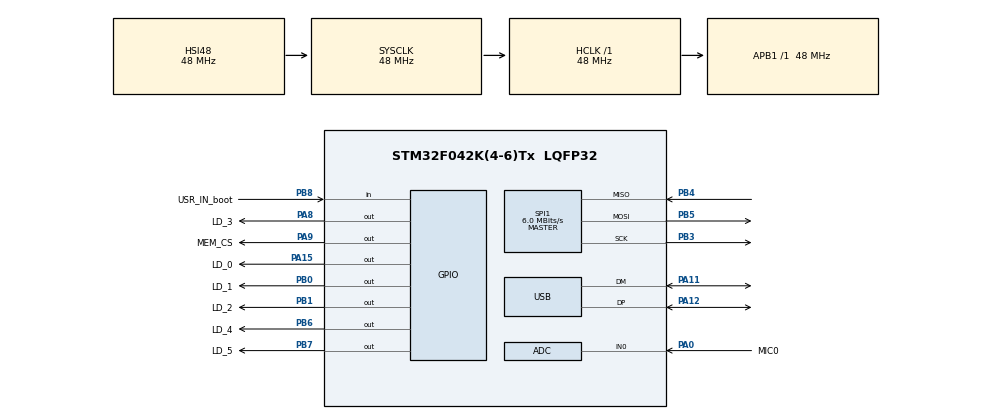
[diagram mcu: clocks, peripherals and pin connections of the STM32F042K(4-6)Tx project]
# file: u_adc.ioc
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ADC.DataAlign=ADC_DATAALIGN_RIGHT
ADC.Resolution=ADC_RESOLUTION_12B
ADC.SamplingTime=ADC_SAMPLETIME_55CYCLES_5
Dma.ADC.0.Direction=DMA_PERIPH_TO_MEMORY
Dma.ADC.0.Instance=DMA1_Channel1
Dma.ADC.0.MemDataAlignment=DMA_MDATAALIGN_HALFWORD
Dma.ADC.0.MemInc=DMA_MINC_ENABLE
Dma.ADC.0.Mode=DMA_NORMAL
Dma.ADC.0.PeriphDataAlignment=DMA_PDATAALIGN_HALFWORD
Dma.ADC.0.PeriphInc=DMA_PINC_DISABLE
Dma.ADC.0.Priority=DMA_PRIORITY_LOW
Dma.Request0=ADC
Mcu.Family=STM32F0
Mcu.Name=STM32F042K(4-6)Tx
Mcu.Package=LQFP32
NVIC.DMA1_Channel1_IRQn=true\:1\:0\:true\:false\:true\:false\:true\:true
NVIC.TIM3_IRQn=true\:1\:0\:true\:false\:true\:true\:true\:true
NVIC.USB_IRQn=true\:0\:0\:false\:false\:true\:false\:true\:true
PA0.GPIO_Label=MIC0
PA0.Mode=IN0
PA0.Signal=ADC_IN0
PA1.GPIO_Label=MIC1
PA1.Signal=ADC_IN1
PA11.Mode=Device
PA11.Signal=USB_DM
PA12.Mode=Device
PA12.Signal=USB_DP
PA13.Mode=Serial_Wire
PA13.Signal=SYS_SWDIO
PA14.Mode=Serial_Wire
PA14.Signal=SYS_SWCLK
PA15.GPIO_Label=LD_0
PA15.GPIO_ModeDefaultOutputPP=GPIO_MODE_OUTPUT_OD
PA15.GPIO_PuPd=GPIO_NOPULL
PA15.GPIO_Speed=GPIO_SPEED_FREQ_HIGH
PA15.PinState=GPIO_PIN_SET
PA15.Signal=GPIO_Output
PA2.GPIO_Label=MIC2
PA2.Signal=ADC_IN2
PA3.GPIO_Label=MIC3
PA3.Signal=ADC_IN3
PA4.GPIO_Label=MIC4
PA4.Signal=ADC_IN4
PA5.GPIO_Label=MIC5
PA5.Signal=ADC_IN5
PA6.GPIO_Label=MIC6
PA6.Signal=ADC_IN6
PA7.GPIO_Label=MIC7
PA7.Signal=ADC_IN7
PA8.GPIO_Label=LD_3
PA8.GPIO_ModeDefaultOutputPP=GPIO_MODE_OUTPUT_OD
PA8.GPIO_PuPd=GPIO_NOPULL
PA8.GPIO_Speed=GPIO_SPEED_FREQ_HIGH
PA8.PinState=GPIO_PIN_SET
PA8.Signal=GPIO_Output
PA9.GPIO_Label=MEM_CS
PA9.Signal=GPIO_Output
PB0.GPIO_Label=LD_1
PB0.GPIO_ModeDefaultOutputPP=GPIO_MODE_OUTPUT_OD
PB0.GPIO_PuPd=GPIO_NOPULL
PB0.GPIO_Speed=GPIO_SPEED_FREQ_HIGH
PB0.PinState=GPIO_PIN_SET
PB0.Signal=GPIO_Output
PB1.GPIO_Label=LD_2
PB1.GPIO_ModeDefaultOutputPP=GPIO_MODE_OUTPUT_OD
PB1.GPIO_PuPd=GPIO_NOPULL
PB1.GPIO_Speed=GPIO_SPEED_FREQ_HIGH
PB1.PinState=GPIO_PIN_SET
PB1.Signal=GPIO_Output
PB3.Mode=Full_Duplex_Master
PB3.Signal=SPI1_SCK
PB4.Mode=Full_Duplex_Master
PB4.Signal=SPI1_MISO
PB5.Mode=Full_Duplex_Master
PB5.Signal=SPI1_MOSI
PB6.GPIO_Label=LD_4
PB6.GPIO_ModeDefaultOutputPP=GPIO_MODE_OUTPUT_OD
PB6.GPIO_PuPd=GPIO_NOPULL
PB6.GPIO_Speed=GPIO_SPEED_FREQ_HIGH
PB6.PinState=GPIO_PIN_SET
PB6.Signal=GPIO_Output
PB7.GPIO_Label=LD_5
PB7.GPIO_ModeDefaultOutputPP=GPIO_MODE_OUTPUT_OD
PB7.GPIO_PuPd=GPIO_NOPULL
PB7.GPIO_Speed=GPIO_SPEED_FREQ_HIGH
PB7.PinState=GPIO_PIN_SET
PB7.Signal=GPIO_Output
PB8.GPIO_Label=USR_IN_boot
PB8.Signal=GPIO_Input
ProjectManager.HeapSize=0x200
ProjectManager.StackSize=0x400
ProjectManager.TargetToolchain=STM32CubeIDE
RCC.AHBFreq_Value=48000000
RCC.APB1Freq_Value=48000000
RCC.APB1TimFreq_Value=48000000
RCC.HCLKFreq_Value=48000000
RCC.SYSCLKFreq_VALUE=48000000
RCC.SYSCLKSource=RCC_SYSCLKSOURCE_HSI48
SPI1.BaudRatePrescaler=SPI_BAUDRATEPRESCALER_8
SPI1.CalculateBaudRate=6.0 MBits/s
SPI1.Direction=SPI_DIRECTION_2LINES
SPI1.Mode=SPI_MODE_MASTER
SPI1.VirtualType=VM_MASTER
TIM3.Period=1199
TIM3.Prescaler=0
TIM3.TIM_MasterOutputTrigger=TIM_TRGO_RESET
USB_DEVICE.APP_RX_DATA_SIZE=64
USB_DEVICE.APP_TX_DATA_SIZE=64
USB_DEVICE.CLASS_NAME_FS=CDC
USB_DEVICE.PRODUCT_STRING_CDC_FS=STM32 Virtual ComPort daniel
USB_DEVICE.USBD_MAX_STR_DESC_SIZ=64
USB_DEVICE.VirtualMode=Cdc
USB_DEVICE.VirtualModeFS=Cdc_FS
VP_TIM3_VS_ClockSourceINT.Mode=Internal
VP_USB_DEVICE_VS_USB_DEVICE_CDC_FS.Mode=CDC_FS
board=custom

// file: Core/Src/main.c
/* USER CODE BEGIN Header */
/**
  ******************************************************************************
  * @file           : main.c
  * @brief          : Main program body
  ******************************************************************************
  * @attention
  *
  * Copyright (c) 2024 STMicroelectronics.
  * All rights reserved.
  *
  * This software is licensed under terms that can be found in the LICENSE file
  * in the root directory of this software component.
  * If no LICENSE file comes with this software, it is provided AS-IS.
  *
  ******************************************************************************
  */
/* USER CODE END Header */
#include "main.h"
#include "usb_device.h"

/* USER CODE BEGIN Includes */
#include "../../Drivers/Custom_Drivers/include/screen.h"
/* USER CODE END Includes */

ADC_HandleTypeDef hadc;
DMA_HandleTypeDef hdma_adc;

SPI_HandleTypeDef hspi1;

TIM_HandleTypeDef htim3;

/* USER CODE BEGIN PV */

volatile uint16_t adcBuffer[8];

/* USER CODE END PV */

void SystemClock_Config(void);
static void MX_GPIO_Init(void);
static void MX_DMA_Init(void);
static void MX_ADC_Init(void);
static void MX_SPI1_Init(void);
static void MX_TIM3_Init(void);

int main(void)
{

  /* MCU Configuration--------------------------------------------------------*/

  /* Reset of all peripherals, Initializes the Flash interface and the Systick. */
  HAL_Init();

  /* Configure the system clock */
  SystemClock_Config();

  /* Initialize all configured peripherals */
  MX_GPIO_Init();
  MX_DMA_Init();
  MX_ADC_Init();
  MX_SPI1_Init();
  MX_USB_DEVICE_Init();
  MX_TIM3_Init();
  /* USER CODE BEGIN 2 */
  //HAL_GPIO_WritePin(LD_0_GPIO_Port, LD_0_Pin, GPIO_PIN_RESET);
  //HAL_GPIO_WritePin(LD_1_GPIO_Port, LD_1_Pin, GPIO_PIN_SET);
  dev.init();
  HAL_ADCEx_Calibration_Start(&hadc);
  HAL_Delay(100);
  HAL_TIM_Base_Start_IT(&htim3);

  /* USER CODE END 2 */

  /* Infinite loop */
  while (1)
  {

    /* USER CODE BEGIN 3 */
	//Screen testing artifact
	  /*  for (int x = 0; x < SCREEN_WIDTH; ++x) {
		  for (int y = 0; y < SCREEN_HEIGHT; ++y) {
		  	 setLEDatpos(x, y);
		  	 HAL_Delay(1);
	  	  }
	  }*/

	  //Send a sample message
	  HAL_Delay(500);
  }
  /* USER CODE END 3 */
}

void SystemClock_Config(void)
{
  RCC_OscInitTypeDef RCC_OscInitStruct = {0};
  RCC_ClkInitTypeDef RCC_ClkInitStruct = {0};
  RCC_PeriphCLKInitTypeDef PeriphClkInit = {0};

  /** Initializes the RCC Oscillators according to the specified parameters
  * in the RCC_OscInitTypeDef structure.
  */
  RCC_OscInitStruct.OscillatorType = RCC_OSCILLATORTYPE_HSI14|RCC_OSCILLATORTYPE_HSI48;
  RCC_OscInitStruct.HSI48State = RCC_HSI48_ON;
  RCC_OscInitStruct.HSI14State = RCC_HSI14_ON;
  RCC_OscInitStruct.HSI14CalibrationValue = 16;
  RCC_OscInitStruct.PLL.PLLState = RCC_PLL_NONE;
  if (HAL_RCC_OscConfig(&RCC_OscInitStruct) != HAL_OK)
  {
    Error_Handler();
  }

  /** Initializes the CPU, AHB and APB buses clocks
  */
  RCC_ClkInitStruct.ClockType = RCC_CLOCKTYPE_HCLK|RCC_CLOCKTYPE_SYSCLK
                              |RCC_CLOCKTYPE_PCLK1;
  RCC_ClkInitStruct.SYSCLKSource = RCC_SYSCLKSOURCE_HSI48;
  RCC_ClkInitStruct.AHBCLKDivider = RCC_SYSCLK_DIV1;
  RCC_ClkInitStruct.APB1CLKDivider = RCC_HCLK_DIV1;

  if (HAL_RCC_ClockConfig(&RCC_ClkInitStruct, FLASH_LATENCY_1) != HAL_OK)
  {
    Error_Handler();
  }
  PeriphClkInit.PeriphClockSelection = RCC_PERIPHCLK_USB;
  PeriphClkInit.UsbClockSelection = RCC_USBCLKSOURCE_HSI48;

  if (HAL_RCCEx_PeriphCLKConfig(&PeriphClkInit) != HAL_OK)
  {
    Error_Handler();
  }
}

static void MX_ADC_Init(void)
{

  ADC_ChannelConfTypeDef sConfig = {0};

  /** Configure the global features of the ADC (Clock, Resolution, Data Alignment and number of conversion)
  */
  hadc.Instance = ADC1;
  hadc.Init.ClockPrescaler = ADC_CLOCK_ASYNC_DIV1;
  hadc.Init.Resolution = ADC_RESOLUTION_12B;
  hadc.Init.DataAlign = ADC_DATAALIGN_RIGHT;
  hadc.Init.ScanConvMode = ADC_SCAN_DIRECTION_FORWARD;
  hadc.Init.EOCSelection = ADC_EOC_SINGLE_CONV;
  hadc.Init.LowPowerAutoWait = DISABLE;
  hadc.Init.LowPowerAutoPowerOff = DISABLE;
  hadc.Init.ContinuousConvMode = DISABLE;
  hadc.Init.DiscontinuousConvMode = DISABLE;
  hadc.Init.ExternalTrigConv = ADC_SOFTWARE_START;
  hadc.Init.ExternalTrigConvEdge = ADC_EXTERNALTRIGCONVEDGE_NONE;
  hadc.Init.DMAContinuousRequests = DISABLE;
  hadc.Init.Overrun = ADC_OVR_DATA_PRESERVED;
  if (HAL_ADC_Init(&hadc) != HAL_OK)
  {
    Error_Handler();
  }

  /** Configure for the selected ADC regular channel to be converted.
  */
  sConfig.Channel = ADC_CHANNEL_0;
  sConfig.Rank = ADC_RANK_CHANNEL_NUMBER;
  sConfig.SamplingTime = ADC_SAMPLETIME_55CYCLES_5;
  if (HAL_ADC_ConfigChannel(&hadc, &sConfig) != HAL_OK)
  {
    Error_Handler();
  }

}

static void MX_SPI1_Init(void)
{

  /* SPI1 parameter configuration*/
  hspi1.Instance = SPI1;
  hspi1.Init.Mode = SPI_MODE_MASTER;
  hspi1.Init.Direction = SPI_DIRECTION_2LINES;
  hspi1.Init.DataSize = SPI_DATASIZE_4BIT;
  hspi1.Init.CLKPolarity = SPI_POLARITY_LOW;
  hspi1.Init.CLKPhase = SPI_PHASE_1EDGE;
  hspi1.Init.NSS = SPI_NSS_SOFT;
  hspi1.Init.BaudRatePrescaler = SPI_BAUDRATEPRESCALER_8;
  hspi1.Init.FirstBit = SPI_FIRSTBIT_MSB;
  hspi1.Init.TIMode = SPI_TIMODE_DISABLE;
  hspi1.Init.CRCCalculation = SPI_CRCCALCULATION_DISABLE;
  hspi1.Init.CRCPolynomial = 7;
  hspi1.Init.CRCLength = SPI_CRC_LENGTH_DATASIZE;
  hspi1.Init.NSSPMode = SPI_NSS_PULSE_ENABLE;
  if (HAL_SPI_Init(&hspi1) != HAL_OK)
  {
    Error_Handler();
  }

}

static void MX_TIM3_Init(void)
{

  TIM_ClockConfigTypeDef sClockSourceConfig = {0};
  TIM_MasterConfigTypeDef sMasterConfig = {0};

  htim3.Instance = TIM3;
  htim3.Init.Prescaler = 0;
  htim3.Init.CounterMode = TIM_COUNTERMODE_UP;
  htim3.Init.Period = 1199;
  htim3.Init.ClockDivision = TIM_CLOCKDIVISION_DIV1;
  htim3.Init.AutoReloadPreload = TIM_AUTORELOAD_PRELOAD_DISABLE;
  if (HAL_TIM_Base_Init(&htim3) != HAL_OK)
  {
    Error_Handler();
  }
  sClockSourceConfig.ClockSource = TIM_CLOCKSOURCE_INTERNAL;
  if (HAL_TIM_ConfigClockSource(&htim3, &sClockSourceConfig) != HAL_OK)
  {
    Error_Handler();
  }
  sMasterConfig.MasterOutputTrigger = TIM_TRGO_RESET;
  sMasterConfig.MasterSlaveMode = TIM_MASTERSLAVEMODE_DISABLE;
  if (HAL_TIMEx_MasterConfigSynchronization(&htim3, &sMasterConfig) != HAL_OK)
  {
    Error_Handler();
  }

}

static void MX_DMA_Init(void)
{

  /* DMA controller clock enable */
  __HAL_RCC_DMA1_CLK_ENABLE();

  /* DMA interrupt init */
  /* DMA1_Channel1_IRQn interrupt configuration */
  HAL_NVIC_SetPriority(DMA1_Channel1_IRQn, 1, 0);
  HAL_NVIC_EnableIRQ(DMA1_Channel1_IRQn);

}

static void MX_GPIO_Init(void)
{
  GPIO_InitTypeDef GPIO_InitStruct = {0};

  /* GPIO Ports Clock Enable */
  __HAL_RCC_GPIOA_CLK_ENABLE();
  __HAL_RCC_GPIOB_CLK_ENABLE();

  /*Configure GPIO pin Output Level */
  HAL_GPIO_WritePin(GPIOB, LD_1_Pin|LD_2_Pin|LD_4_Pin|LD_5_Pin, GPIO_PIN_SET);

  /*Configure GPIO pin Output Level */
  HAL_GPIO_WritePin(GPIOA, LD_3_Pin|LD_0_Pin, GPIO_PIN_SET);

  /*Configure GPIO pin Output Level */
  HAL_GPIO_WritePin(MEM_CS_GPIO_Port, MEM_CS_Pin, GPIO_PIN_RESET);

  /*Configure GPIO pins : LD_1_Pin LD_2_Pin LD_4_Pin LD_5_Pin */
  GPIO_InitStruct.Pin = LD_1_Pin|LD_2_Pin|LD_4_Pin|LD_5_Pin;
  GPIO_InitStruct.Mode = GPIO_MODE_OUTPUT_OD;
  GPIO_InitStruct.Pull = GPIO_NOPULL;
  GPIO_InitStruct.Speed = GPIO_SPEED_FREQ_HIGH;
  HAL_GPIO_Init(GPIOB, &GPIO_InitStruct);

  /*Configure GPIO pins : LD_3_Pin LD_0_Pin */
  GPIO_InitStruct.Pin = LD_3_Pin|LD_0_Pin;
  GPIO_InitStruct.Mode = GPIO_MODE_OUTPUT_OD;
  GPIO_InitStruct.Pull = GPIO_NOPULL;
  GPIO_InitStruct.Speed = GPIO_SPEED_FREQ_HIGH;
  HAL_GPIO_Init(GPIOA, &GPIO_InitStruct);

  /*Configure GPIO pin : MEM_CS_Pin */
  GPIO_InitStruct.Pin = MEM_CS_Pin;
  GPIO_InitStruct.Mode = GPIO_MODE_OUTPUT_PP;
  GPIO_InitStruct.Pull = GPIO_NOPULL;
  GPIO_InitStruct.Speed = GPIO_SPEED_FREQ_LOW;
  HAL_GPIO_Init(MEM_CS_GPIO_Port, &GPIO_InitStruct);

  /*Configure GPIO pin : USR_IN_boot_Pin */
  GPIO_InitStruct.Pin = USR_IN_boot_Pin;
  GPIO_InitStruct.Mode = GPIO_MODE_INPUT;
  GPIO_InitStruct.Pull = GPIO_NOPULL;
  HAL_GPIO_Init(USR_IN_boot_GPIO_Port, &GPIO_InitStruct);

}

/* USER CODE BEGIN 4 */
//char messageBuffer[5];
uint8_t transmitBuffer[1024];
uint16_t bufferIndex = 0;
uint8_t len;
//
char tmp[20];
#define transmitBytes 800
void HAL_ADC_ConvCpltCallback(ADC_HandleTypeDef* hadc)
{
    	uint8_t high_byte = (adcBuffer[0] >> 8) & 0xFF;  // Shift right by 8 bits to get the high byte
    	uint8_t low_byte = adcBuffer[0] & 0xFF;          // Mask to get the low byte

		transmitBuffer[bufferIndex] = high_byte;
		transmitBuffer[bufferIndex + 1] = low_byte;
		bufferIndex = bufferIndex + 2;
		  if (bufferIndex > transmitBytes ){
			  CDC_Transmit_FS(transmitBuffer, bufferIndex);
			 /* int len = sprintf(tmp,"%d\n",adcBuffer[0]);
			  CDC_Transmit_FS(tmp, len);*/
			  bufferIndex = 0;
		  }
}
/* USER CODE END 4 */

void Error_Handler(void)
{
  __disable_irq();
  while (1)
  {
  }
}
